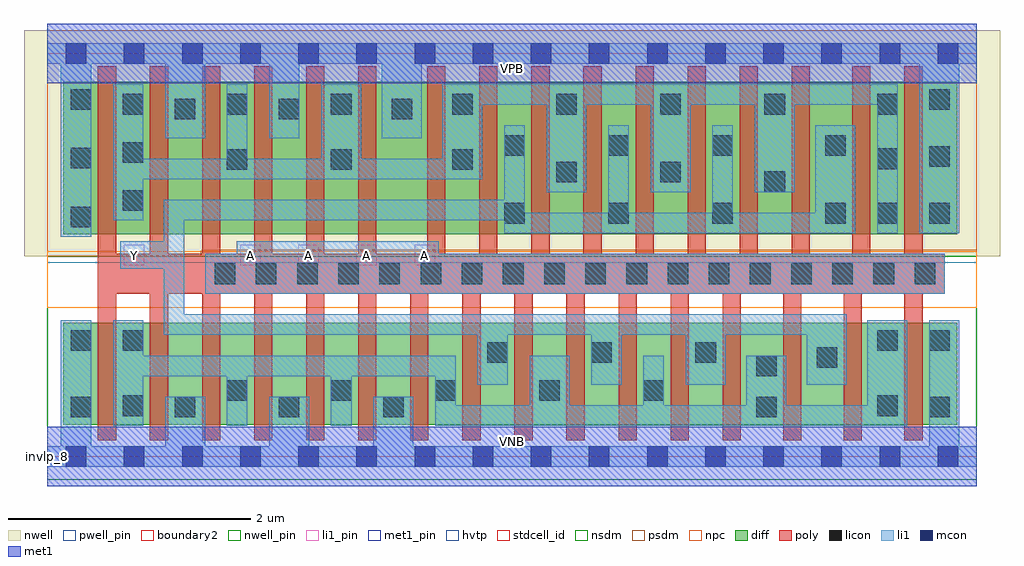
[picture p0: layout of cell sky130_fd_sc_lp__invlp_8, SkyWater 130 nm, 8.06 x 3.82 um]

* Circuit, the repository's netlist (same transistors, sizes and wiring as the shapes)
* Copyright 2020 The SkyWater PDK Authors
*
* Licensed under the Apache License, Version 2.0 (the "License");
* you may not use this file except in compliance with the License.
* You may obtain a copy of the License at
*
*     https://www.apache.org/licenses/LICENSE-2.0
*
* Unless required by applicable law or agreed to in writing, software
* distributed under the License is distributed on an "AS IS" BASIS,
* WITHOUT WARRANTIES OR CONDITIONS OF ANY KIND, either express or implied.
* See the License for the specific language governing permissions and
* limitations under the License.
*
* SPDX-License-Identifier: Apache-2.0

.SUBCKT sky130_fd_sc_lp__invlp_8 A VGND VNB VPB VPWR Y
*.PININFO A:I VGND:I VNB:I VPB:I VPWR:I Y:O
MMIP1 Y A net17 VPB sky130_fd_pr__pfet_01v8_hvt m=8 w=1.26U l=0.15U mult=1 sa=0.265
+ sb=0.265 sd=0.28 area=0.063 perim=1.14
MI6 net17 A VPWR VPB sky130_fd_pr__pfet_01v8_hvt m=8 w=1.26U l=0.15U mult=1 sa=0.265
+ sb=0.265 sd=0.28 area=0.063 perim=1.14
MMIN1 Y A net25 VNB sky130_fd_pr__nfet_01v8 m=8 w=0.84U l=0.15U mult=1 sa=0.265
+ sb=0.265 sd=0.28 area=0.063 perim=1.14
MI5 net25 A VGND VNB sky130_fd_pr__nfet_01v8 m=8 w=0.84U l=0.15U mult=1 sa=0.265
+ sb=0.265 sd=0.28 area=0.063 perim=1.14
.ENDS sky130_fd_sc_lp__invlp_8

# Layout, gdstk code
import gdstk
lib = gdstk.Library(unit=1e-6, precision=1e-09)
def R(c, l, rs):  # rectangles x0, y0, x1, y1
    for r in rs: c.add(gdstk.rectangle(r[:2], r[2:], *l))
def A(c, l, x, y, w, h, nx, ny, dx, dy):  # array of equal rectangles
    R(c, l, [(x+i*dx, y+j*dy, x+i*dx+w, y+j*dy+h) for i in range(nx) for j in range(ny)])
def P(c, l, *ps):  # polygons
    for p in ps: c.add(gdstk.Polygon(p, *l))
nwell_pin = (64, 16)
nwell = (64, 20)
diff = (65, 20)
poly = (66, 20)
licon = (66, 44)
li1_pin = (67, 16)
li1 = (67, 20)
mcon = (67, 44)
met1_pin = (68, 16)
met1 = (68, 20)
hvtp = (78, 44)
stdcell_id = (81, 4)
nsdm = (93, 44)
psdm = (94, 20)
npc = (95, 20)
pwell_pin = (122, 16)
boundary2 = (236, 0)

sky130_fd_sc_lp__invlp_8 = lib.new_cell('sky130_fd_sc_lp__invlp_8')
R(sky130_fd_sc_lp__invlp_8, nwell_pin, [(0,3.085,7.68,3.33)])
R(sky130_fd_sc_lp__invlp_8, nwell, [(-0.19,1.655,7.87,3.52)])
R(sky130_fd_sc_lp__invlp_8, diff, [(0.135,0.265,7.515,1.105), (0.135,1.835,7.515,3.095)])
P(sky130_fd_sc_lp__invlp_8, poly, [(7.415,1.675),(7.23,1.675),(7.23,3.225),(7.08,3.225),(7.08,1.675),(6.8,1.675),(6.8,3.225),(6.65,3.225),(6.65,1.675),(6.3,1.675),(6.3,3.225),(6.15,3.225),(6.15,1.675),(5.87,1.675),(5.87,3.225),(5.72,3.225),(5.72,1.675),(5.44,1.675),(5.44,3.225),(5.29,3.225),(5.29,1.675),(5.01,1.675),(5.01,3.225),(4.86,3.225),(4.86,1.675),(4.58,1.675),(4.58,3.225),(4.43,3.225),(4.43,1.675),(4.15,1.675),(4.15,3.225),(4,3.225),(4,1.675),(3.72,1.675),(3.72,3.225),(3.57,3.225),(3.57,1.675),(3.29,1.675),(3.29,3.225),(3.14,3.225),(3.14,1.675),(2.72,1.675),(2.72,3.225),(2.57,3.225),(2.57,1.675),(2.29,1.675),(2.29,3.225),(2.14,3.225),(2.14,1.675),(1.86,1.675),(1.86,3.225),(1.71,3.225),(1.71,1.675),(1.43,1.675),(1.43,3.225),(1.28,3.225),(1.28,1.675),(1,1.675),(1,3.225),(0.85,3.225),(0.85,1.675),(0.57,1.675),(0.57,3.225),(0.42,3.225),(0.42,0.135),(0.57,0.135),(0.57,1.345),(0.85,1.345),(0.85,0.135),(1,0.135),(1,1.345),(1.28,1.345),(1.28,0.135),(1.43,0.135),(1.43,1.345),(1.71,1.345),(1.71,0.135),(1.86,0.135),(1.86,1.345),(2.14,1.345),(2.14,0.135),(2.29,0.135),(2.29,1.345),(2.57,1.345),(2.57,0.135),(2.72,0.135),(2.72,1.345),(3,1.345),(3,0.135),(3.15,0.135),(3.15,1.345),(3.43,1.345),(3.43,0.135),(3.58,0.135),(3.58,1.345),(3.86,1.345),(3.86,0.135),(4.01,0.135),(4.01,1.345),(4.29,1.345),(4.29,0.135),(4.44,0.135),(4.44,1.345),(4.72,1.345),(4.72,0.135),(4.87,0.135),(4.87,1.345),(5.15,1.345),(5.15,0.135),(5.3,0.135),(5.3,1.345),(5.58,1.345),(5.58,0.135),(5.73,0.135),(5.73,1.345),(6.08,1.345),(6.08,0.135),(6.23,0.135),(6.23,1.345),(6.58,1.345),(6.58,0.135),(6.73,0.135),(6.73,1.345),(7.08,1.345),(7.08,0.135),(7.23,0.135),(7.23,1.345),(7.415,1.345)])
A(sky130_fd_sc_lp__invlp_8, licon, 0.195, 0.325, 0.17, 0.17, 4, 1, 0.86, 0)
A(sky130_fd_sc_lp__invlp_8, licon, 1.485, 0.46, 0.17, 0.17, 5, 1, 0.86, 0)
A(sky130_fd_sc_lp__invlp_8, licon, 3.635, 0.775, 0.17, 0.17, 3, 1, 0.86, 0)
A(sky130_fd_sc_lp__invlp_8, licon, 1.385, 1.425, 0.17, 0.17, 18, 1, 0.34, 0)
A(sky130_fd_sc_lp__invlp_8, licon, 0.195, 1.895, 0.17, 0.17, 1, 3, 0, 0.485)
A(sky130_fd_sc_lp__invlp_8, licon, 3.775, 1.925, 0.17, 0.17, 3, 2, 0.86, 0.56)
A(sky130_fd_sc_lp__invlp_8, licon, 6.425, 1.925, 0.17, 0.17, 3, 1, 0.43, 0)
A(sky130_fd_sc_lp__invlp_8, licon, 0.625, 2.825, 0.17, 0.17, 3, 1, 0.86, 0)
A(sky130_fd_sc_lp__invlp_8, licon, 3.345, 2.825, 0.17, 0.17, 4, 1, 0.86, 0)
R(sky130_fd_sc_lp__invlp_8, licon, [(5.855,0.325,6.025,0.495), (7.285,0.325,7.455,0.495), (0.625,0.335,0.795,0.505), (6.855,0.335,7.025,0.505), (5.855,0.665,6.025,0.835), (6.355,0.735,6.525,0.905), (0.195,0.875,0.365,1.045), (0.625,0.875,0.795,1.045), (6.855,0.875,7.025,1.045), (7.285,0.875,7.455,1.045), (0.625,2.03,0.795,2.2), (5.925,2.185,6.095,2.355), (4.205,2.265,4.375,2.435), (5.065,2.265,5.235,2.435), (1.485,2.37,1.655,2.54), (2.345,2.37,2.515,2.54), (3.345,2.37,3.515,2.54), (6.855,2.375,7.025,2.545), (7.285,2.395,7.455,2.565), (0.625,2.425,0.795,2.595), (6.425,2.485,6.595,2.655), (1.055,2.785,1.225,2.955), (1.915,2.785,2.085,2.955), (2.845,2.785,3.015,2.955), (6.855,2.825,7.025,2.995), (7.285,2.865,7.455,3.035)])
A(sky130_fd_sc_lp__invlp_8, li1_pin, 1.595, 1.58, 0.17, 0.17, 4, 1, 0.48, 0)
R(sky130_fd_sc_lp__invlp_8, li1_pin, [(0.635,1.58,0.805,1.75)])
P(sky130_fd_sc_lp__invlp_8, li1, [(0.115,1.815),(0.115,3.245),(0,3.245),(0,3.415),(7.68,3.415),(7.68,3.245),(7.535,3.245),(7.535,1.845),(7.205,1.845),(7.205,3.245),(3.095,3.245),(3.095,2.63),(2.765,2.63),(2.765,3.245),(2.085,3.245),(2.085,2.63),(1.835,2.63),(1.835,3.245),(1.305,3.245),(1.305,2.63),(0.975,2.63),(0.975,3.245),(0.365,3.245),(0.365,1.815)],
  [(2.695,0.085),(2.695,0.495),(3.025,0.495),(3.025,0.085),(7.285,0.085),(7.285,1.125),(7.535,1.125),(7.535,0.085),(7.68,0.085),(7.68,-0.085),(0,-0.085),(0,0.085),(0.115,0.085),(0.115,1.125),(0.365,1.125),(0.365,0.085),(0.975,0.085),(0.975,0.495),(1.305,0.495),(1.305,0.085),(1.835,0.085),(1.835,0.495),(2.165,0.495),(2.165,0.085)],
  [(1.305,1.345),(1.305,1.675),(1.565,1.675),(1.565,1.78),(3.235,1.78),(3.235,1.675),(7.415,1.675),(7.415,1.345)],
  [(1.135,1.175),(6.605,1.175),(6.605,0.595),(6.275,0.595),(6.275,1.005),(5.605,1.005),(5.605,0.595),(5.275,0.595),(5.275,1.005),(4.745,1.005),(4.745,0.595),(4.495,0.595),(4.495,1.005),(3.805,1.005),(3.805,0.595),(3.555,0.595),(3.555,1.005),(0.965,1.005),(0.965,1.55),(0.605,1.55),(0.605,1.78),(0.965,1.78),(0.965,2.12),(3.775,2.12),(3.775,2.735),(3.945,2.735),(3.945,2.015),(4.635,2.015),(4.635,2.735),(4.805,2.735),(4.805,2.015),(5.495,2.015),(5.495,2.735),(5.665,2.735),(5.665,2.015),(6.345,2.015),(6.345,2.735),(6.675,2.735),(6.675,1.845),(3.775,1.845),(3.775,1.95),(1.135,1.95)],
  [(1.485,2.46),(1.485,3.075),(1.655,3.075),(1.655,2.46),(2.265,2.46),(2.265,3.075),(2.595,3.075),(2.595,2.46),(3.265,2.46),(3.265,3.075),(7.025,3.075),(7.025,1.845),(6.855,1.845),(6.855,2.905),(6.175,2.905),(6.175,2.185),(5.845,2.185),(5.845,2.905),(5.315,2.905),(5.315,2.185),(4.985,2.185),(4.985,2.905),(4.455,2.905),(4.455,2.185),(4.125,2.185),(4.125,2.905),(3.595,2.905),(3.595,2.29),(0.795,2.29),(0.795,1.95),(0.545,1.95),(0.545,3.075),(0.795,3.075),(0.795,2.46)],
  [(1.485,0.255),(1.485,0.665),(0.795,0.665),(0.795,0.255),(0.545,0.255),(0.545,1.125),(0.795,1.125),(0.795,0.835),(3.375,0.835),(3.375,0.425),(3.985,0.425),(3.985,0.835),(4.315,0.835),(4.315,0.425),(4.925,0.425),(4.925,0.835),(5.095,0.835),(5.095,0.425),(5.775,0.425),(5.775,0.835),(6.105,0.835),(6.105,0.425),(6.775,0.425),(6.775,1.125),(7.105,1.125),(7.105,0.255),(3.205,0.255),(3.205,0.665),(2.515,0.665),(2.515,0.255),(2.345,0.255),(2.345,0.665),(1.655,0.665),(1.655,0.255)])
A(sky130_fd_sc_lp__invlp_8, mcon, 0.155, -0.085, 0.17, 0.17, 16, 2, 0.48, 3.33)
R(sky130_fd_sc_lp__invlp_8, met1_pin, [(0,0,7.68,0.245), (0,3.085,7.68,3.33)])
R(sky130_fd_sc_lp__invlp_8, met1, [(0,-0.245,7.68,0.245), (0,3.085,7.68,3.575)])
R(sky130_fd_sc_lp__invlp_8, hvtp, [(0,1.6,7.68,3.33)])
R(sky130_fd_sc_lp__invlp_8, stdcell_id, [(0,0,7.68,3.33)])
R(sky130_fd_sc_lp__invlp_8, nsdm, [(0,-0.19,7.68,1.655)])
P(sky130_fd_sc_lp__invlp_8, psdm, [(7.68,3.52),(0,3.52),(0,1.655),(1.275,1.655),(1.275,1.705),(7.68,1.705)])
R(sky130_fd_sc_lp__invlp_8, npc, [(0,1.23,7.68,1.695)])
R(sky130_fd_sc_lp__invlp_8, pwell_pin, [(0,0,7.68,0.245)])
R(sky130_fd_sc_lp__invlp_8, boundary2, [(0,0,7.68,3.33)])
sky130_fd_sc_lp__invlp_8.add(gdstk.Label('VNB', (3.84,0.123), layer=64, texttype=59))
sky130_fd_sc_lp__invlp_8.add(gdstk.Label('VPB', (3.84,3.208), layer=64, texttype=5))
sky130_fd_sc_lp__invlp_8.add(gdstk.Label('invlp_8', (0,0), layer=83, texttype=44))
sky130_fd_sc_lp__invlp_8.add(gdstk.Label('VPWR', (3.84,3.208), layer=68, texttype=5))
sky130_fd_sc_lp__invlp_8.add(gdstk.Label('VGND', (3.84,0.123), layer=68, texttype=5))
sky130_fd_sc_lp__invlp_8.add(gdstk.Label('A', (1.68,1.665), layer=67, texttype=5))
sky130_fd_sc_lp__invlp_8.add(gdstk.Label('A', (2.16,1.665), layer=67, texttype=5))
sky130_fd_sc_lp__invlp_8.add(gdstk.Label('A', (2.64,1.665), layer=67, texttype=5))
sky130_fd_sc_lp__invlp_8.add(gdstk.Label('A', (3.12,1.665), layer=67, texttype=5))
sky130_fd_sc_lp__invlp_8.add(gdstk.Label('Y', (0.72,1.665), layer=67, texttype=5))

lib.write_gds('sky130_fd_sc_lp__invlp_8.gds')
